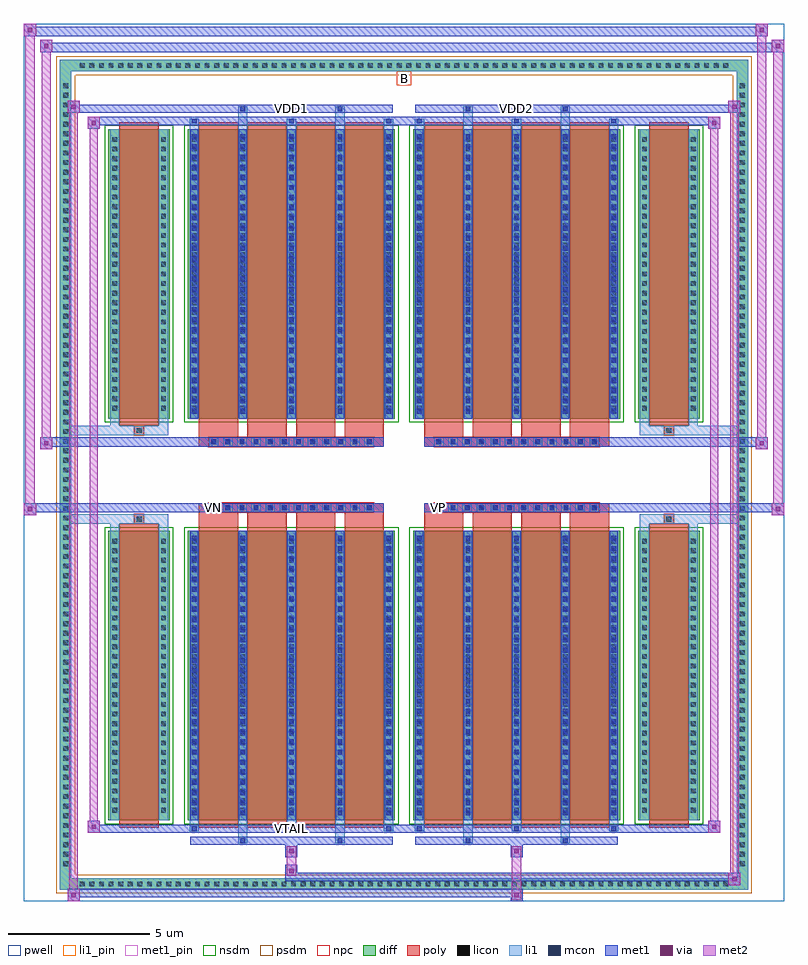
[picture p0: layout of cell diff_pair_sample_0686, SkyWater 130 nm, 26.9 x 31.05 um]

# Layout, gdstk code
import gdstk
lib = gdstk.Library(unit=1e-6, precision=5e-09)
def R(c, l, rs):  # rectangles x0, y0, x1, y1
    for r in rs: c.add(gdstk.rectangle(r[:2], r[2:], *l))
def A(c, l, x, y, w, h, nx, ny, dx, dy):  # array of equal rectangles
    R(c, l, [(x+i*dx, y+j*dy, x+i*dx+w, y+j*dy+h) for i in range(nx) for j in range(ny)])
def P(c, l, *ps):  # polygons
    for p in ps: c.add(gdstk.Polygon(p, *l))
pwell = (64, 44)
diff = (65, 20)
poly = (66, 20)
licon = (66, 44)
li1_pin = (67, 16)
li1 = (67, 20)
mcon = (67, 44)
met1_pin = (68, 16)
met1 = (68, 20)
via = (68, 44)
met2 = (69, 20)
nsdm = (93, 44)
psdm = (94, 20)
npc = (95, 20)

diff_pair_sample_0686 = lib.new_cell('diff_pair_sample_0686')
R(diff_pair_sample_0686, pwell, [(-13.45,-15.09,13.45,15.96), (-10.77,-13.28,-0.01,-0.8), (0.01,-13.28,10.77,-0.8), (-10.77,0.8,-0.01,13.28), (0.01,0.8,10.77,13.28)])
A(diff_pair_sample_0686, diff, -11.595, -14.69, 0.41, 0.41, 68, 2, 0.34, 28.97)
A(diff_pair_sample_0686, diff, -12.18, -13.975, 0.41, 0.41, 1, 82, 0, 0.34)
A(diff_pair_sample_0686, diff, 11.77, -13.975, 0.41, 0.41, 1, 82, 0, 0.34)
R(diff_pair_sample_0686, diff, [(-11.595,-14.69,11.595,-14.28), (-12.18,-13.975,-11.77,13.975), (11.77,-13.975,12.18,13.975), (-10.46,-12.235,-8.29,-1.985), (-7.65,-12.235,-0.32,-1.985), (0.32,-12.235,7.65,-1.985), (8.29,-12.235,10.46,-1.985), (-10.46,1.985,-8.29,12.235), (-7.65,1.985,-0.32,12.235), (0.32,1.985,7.65,12.235), (8.29,1.985,10.46,12.235), (-11.595,14.28,11.595,14.69)])
P(diff_pair_sample_0686, diff, [(12.18,14.69),(-12.18,14.69),(-12.18,-14.28),(-11.77,-14.28),(-11.77,14.28),(11.77,14.28),(11.77,-14.28),(-11.77,-14.28),(-12.18,-14.28),(-12.18,-14.69),(12.18,-14.69)])
A(diff_pair_sample_0686, poly, -7.26, -12.485, 1.39, 10.75, 4, 2, 1.72, 14.22)
A(diff_pair_sample_0686, poly, 0.71, -12.485, 1.39, 10.75, 4, 2, 1.72, 14.22)
A(diff_pair_sample_0686, poly, -7.26, -1.735, 1.39, 0.405, 4, 2, 1.72, 3.065)
A(diff_pair_sample_0686, poly, 0.71, -1.735, 1.39, 0.405, 4, 2, 1.72, 3.065)
A(diff_pair_sample_0686, poly, -6.9, -1.33, 0.33, 0.33, 12, 2, 0.5, 2.33)
A(diff_pair_sample_0686, poly, 1.07, -1.33, 0.33, 0.33, 12, 2, 0.5, 2.33)
R(diff_pair_sample_0686, poly, [(-10.07,-12.485,-8.68,-1.735), (8.68,-12.485,10.07,-1.735), (-9.54,-1.735,-9.21,-1.405), (-9.54,-1.735,-9.21,-1.405), (9.21,-1.735,9.54,-1.405), (9.21,-1.735,9.54,-1.405), (-7.26,-1.33,-0.71,-1), (0.71,-1.33,7.26,-1), (-7.26,1,-0.71,1.33), (0.71,1,7.26,1.33), (-9.54,1.405,-9.21,1.735), (-9.54,1.405,-9.21,1.735), (9.21,1.405,9.54,1.735), (9.21,1.405,9.54,1.735), (-10.07,1.735,-8.68,12.485), (8.68,1.735,10.07,12.485)])
A(diff_pair_sample_0686, licon, -11.475, -14.57, 0.17, 0.17, 68, 2, 0.34, 28.97)
A(diff_pair_sample_0686, licon, -12.06, -13.855, 0.17, 0.17, 1, 82, 0, 0.34)
A(diff_pair_sample_0686, licon, 11.89, -13.855, 0.17, 0.17, 1, 82, 0, 0.34)
A(diff_pair_sample_0686, licon, -10.32, -11.955, 0.17, 0.17, 1, 29, 0, 0.34)
A(diff_pair_sample_0686, licon, -8.6, -11.955, 0.17, 0.17, 1, 29, 0, 0.34)
A(diff_pair_sample_0686, licon, -7.51, -11.955, 0.17, 0.17, 5, 29, 1.72, 0.34)
A(diff_pair_sample_0686, licon, 0.46, -11.955, 0.17, 0.17, 5, 29, 1.72, 0.34)
A(diff_pair_sample_0686, licon, 8.43, -11.955, 0.17, 0.17, 1, 29, 0, 0.34)
A(diff_pair_sample_0686, licon, 10.15, -11.955, 0.17, 0.17, 1, 29, 0, 0.34)
A(diff_pair_sample_0686, licon, -6.82, -1.25, 0.17, 0.17, 12, 2, 0.5, 2.33)
A(diff_pair_sample_0686, licon, 1.15, -1.25, 0.17, 0.17, 12, 2, 0.5, 2.33)
A(diff_pair_sample_0686, licon, -10.32, 2.265, 0.17, 0.17, 1, 29, 0, 0.34)
A(diff_pair_sample_0686, licon, -8.6, 2.265, 0.17, 0.17, 1, 29, 0, 0.34)
A(diff_pair_sample_0686, licon, -7.51, 2.265, 0.17, 0.17, 5, 29, 1.72, 0.34)
A(diff_pair_sample_0686, licon, 0.46, 2.265, 0.17, 0.17, 5, 29, 1.72, 0.34)
A(diff_pair_sample_0686, licon, 8.43, 2.265, 0.17, 0.17, 1, 29, 0, 0.34)
A(diff_pair_sample_0686, licon, 10.15, 2.265, 0.17, 0.17, 1, 29, 0, 0.34)
R(diff_pair_sample_0686, licon, [(-9.46,-1.655,-9.29,-1.485), (9.29,-1.655,9.46,-1.485), (-9.46,1.485,-9.29,1.655), (9.29,1.485,9.46,1.655)])
R(diff_pair_sample_0686, li1_pin, [(-0.25,13.78,0.25,14.28)])
A(diff_pair_sample_0686, li1, -11.555, -14.65, 0.33, 0.33, 68, 2, 0.34, 28.97)
A(diff_pair_sample_0686, li1, -12.14, -13.935, 0.33, 0.33, 1, 82, 0, 0.34)
A(diff_pair_sample_0686, li1, 11.81, -13.935, 0.33, 0.33, 1, 82, 0, 0.34)
A(diff_pair_sample_0686, li1, -7.59, -12.61, 0.33, 0.375, 3, 2, 3.44, 24.845)
A(diff_pair_sample_0686, li1, -7.51, -12.61, 0.17, 0.17, 3, 2, 3.44, 25.05)
A(diff_pair_sample_0686, li1, 0.38, -12.61, 0.33, 0.375, 3, 2, 3.44, 24.845)
A(diff_pair_sample_0686, li1, 0.46, -12.61, 0.17, 0.17, 3, 2, 3.44, 25.05)
A(diff_pair_sample_0686, li1, -7.59, -12.235, 0.33, 10.25, 5, 2, 1.72, 14.22)
A(diff_pair_sample_0686, li1, 0.38, -12.235, 0.33, 10.25, 5, 2, 1.72, 14.22)
A(diff_pair_sample_0686, li1, -7.51, -12.055, 0.17, 0.17, 5, 28, 1.72, 0.36)
A(diff_pair_sample_0686, li1, -7.51, -12.055, 0.17, 9.89, 5, 2, 1.72, 14.22)
A(diff_pair_sample_0686, li1, 0.46, -12.055, 0.17, 0.17, 5, 28, 1.72, 0.36)
A(diff_pair_sample_0686, li1, 0.46, -12.055, 0.17, 9.89, 5, 2, 1.72, 14.22)
A(diff_pair_sample_0686, li1, -10.4, -12.035, 0.33, 0.33, 1, 29, 0, 0.34)
A(diff_pair_sample_0686, li1, -8.68, -12.035, 0.33, 0.33, 1, 29, 0, 0.34)
A(diff_pair_sample_0686, li1, -7.59, -12.035, 0.33, 0.33, 5, 29, 1.72, 0.34)
A(diff_pair_sample_0686, li1, 0.38, -12.035, 0.33, 0.33, 5, 29, 1.72, 0.34)
A(diff_pair_sample_0686, li1, 8.35, -12.035, 0.33, 0.33, 1, 29, 0, 0.34)
A(diff_pair_sample_0686, li1, 10.07, -12.035, 0.33, 0.33, 1, 29, 0, 0.34)
A(diff_pair_sample_0686, li1, -6.9, -1.33, 0.33, 0.33, 12, 2, 0.5, 2.33)
A(diff_pair_sample_0686, li1, 1.07, -1.33, 0.33, 0.33, 12, 2, 0.5, 2.33)
A(diff_pair_sample_0686, li1, -7.51, 2.165, 0.17, 0.17, 5, 28, 1.72, 0.36)
A(diff_pair_sample_0686, li1, 0.46, 2.165, 0.17, 0.17, 5, 28, 1.72, 0.36)
A(diff_pair_sample_0686, li1, -10.4, 2.185, 0.33, 0.33, 1, 29, 0, 0.34)
A(diff_pair_sample_0686, li1, -8.68, 2.185, 0.33, 0.33, 1, 29, 0, 0.34)
A(diff_pair_sample_0686, li1, -7.59, 2.185, 0.33, 0.33, 5, 29, 1.72, 0.34)
A(diff_pair_sample_0686, li1, 0.38, 2.185, 0.33, 0.33, 5, 29, 1.72, 0.34)
A(diff_pair_sample_0686, li1, 8.35, 2.185, 0.33, 0.33, 1, 29, 0, 0.34)
A(diff_pair_sample_0686, li1, 10.07, 2.185, 0.33, 0.33, 1, 29, 0, 0.34)
R(diff_pair_sample_0686, li1, [(-12.18,-14.69,-11.77,-14.28), (-12.18,-14.69,-11.77,-14.28), (-11.77,-14.69,11.77,-14.28), (11.77,-14.69,12.18,-14.28), (11.77,-14.69,12.18,-14.28), (-12.18,-14.28,-11.77,14.28), (11.77,-14.28,12.18,14.28), (-5.87,-13.04,-5.54,-12.235), (-5.79,-13.04,-5.62,-12.87), (-2.43,-13.04,-2.1,-12.235), (-2.35,-13.04,-2.18,-12.87), (2.1,-13.04,2.43,-12.235), (2.18,-13.04,2.35,-12.87), (5.54,-13.04,5.87,-12.235), (5.62,-13.04,5.79,-12.87), (-10.4,-12.235,-10.07,-1.985), (-8.68,-12.235,-8.35,-1.985), (8.35,-12.235,8.68,-1.985), (10.07,-12.235,10.4,-1.985), (-10.4,-1.985,-10.07,-1.405), (-8.68,-1.985,-8.35,-1.405), (8.35,-1.985,8.68,-1.405), (10.07,-1.985,10.4,-1.405), (-12.18,-1.735,-9.54,-1.405), (-10.4,-1.735,-9.54,-1.405), (-9.54,-1.735,-9.21,-1.405), (-9.21,-1.735,-8.35,-1.405), (8.35,-1.735,9.21,-1.405), (9.21,-1.735,9.54,-1.405), (9.21,-1.735,12.18,-1.405), (9.54,-1.735,10.4,-1.405), (-12.18,1.405,-9.54,1.735), (-10.4,1.405,-9.54,1.735), (-10.4,1.405,-10.07,1.985), (-9.54,1.405,-9.21,1.735), (-9.21,1.405,-8.35,1.735), (-8.68,1.405,-8.35,1.985), (8.35,1.405,9.21,1.735), (8.35,1.405,8.68,1.985), (9.21,1.405,9.54,1.735), (9.21,1.405,12.18,1.735), (9.54,1.405,10.4,1.735), (10.07,1.405,10.4,1.985), (-10.4,1.985,-10.07,12.235), (-8.68,1.985,-8.35,12.235), (8.35,1.985,8.68,12.235), (10.07,1.985,10.4,12.235), (-5.87,12.235,-5.54,13.04), (-2.43,12.235,-2.1,13.04), (2.1,12.235,2.43,13.04), (5.54,12.235,5.87,13.04), (-5.79,12.87,-5.62,13.04), (-2.35,12.87,-2.18,13.04), (2.18,12.87,2.35,13.04), (5.62,12.87,5.79,13.04), (-12.18,14.28,-11.77,14.69), (-12.18,14.28,-11.77,14.69), (-11.77,14.28,11.77,14.69), (11.77,14.28,12.18,14.69), (11.77,14.28,12.18,14.69)])
A(diff_pair_sample_0686, mcon, -7.51, -12.61, 0.17, 0.17, 3, 2, 3.44, 25.05)
A(diff_pair_sample_0686, mcon, 0.46, -12.61, 0.17, 0.17, 3, 2, 3.44, 25.05)
A(diff_pair_sample_0686, mcon, -7.51, -12.055, 0.17, 0.17, 5, 28, 1.72, 0.36)
A(diff_pair_sample_0686, mcon, 0.46, -12.055, 0.17, 0.17, 5, 28, 1.72, 0.36)
A(diff_pair_sample_0686, mcon, -6.82, -1.25, 0.17, 0.17, 12, 2, 0.5, 2.33)
A(diff_pair_sample_0686, mcon, 1.15, -1.25, 0.17, 0.17, 12, 2, 0.5, 2.33)
A(diff_pair_sample_0686, mcon, -7.51, 2.165, 0.17, 0.17, 5, 28, 1.72, 0.36)
A(diff_pair_sample_0686, mcon, 0.46, 2.165, 0.17, 0.17, 5, 28, 1.72, 0.36)
R(diff_pair_sample_0686, mcon, [(-5.79,-13.04,-5.62,-12.87), (-2.35,-13.04,-2.18,-12.87), (2.18,-13.04,2.35,-12.87), (5.62,-13.04,5.79,-12.87), (-5.79,12.87,-5.62,13.04), (-2.35,12.87,-2.18,13.04), (2.18,12.87,2.35,13.04), (5.62,12.87,5.79,13.04)])
R(diff_pair_sample_0686, met1_pin, [(-4.12,-12.65,-3.85,-12.38), (-6.87,-1.29,-6.6,-1.02), (1.1,-1.29,1.37,-1.02), (-4.12,12.83,-3.85,13.1), (3.85,12.83,4.12,13.1)])
A(diff_pair_sample_0686, met1, -7.57, -12.67, 0.29, 0.29, 3, 2, 3.44, 25.05)
A(diff_pair_sample_0686, met1, 0.4, -12.67, 0.29, 0.29, 3, 2, 3.44, 25.05)
A(diff_pair_sample_0686, met1, -7.57, -12.235, 0.29, 10.25, 5, 2, 1.72, 14.22)
A(diff_pair_sample_0686, met1, 0.4, -12.235, 0.29, 10.25, 5, 2, 1.72, 14.22)
A(diff_pair_sample_0686, met1, -7.57, -12.115, 0.29, 0.29, 5, 28, 1.72, 0.36)
A(diff_pair_sample_0686, met1, 0.4, -12.115, 0.29, 0.29, 5, 28, 1.72, 0.36)
A(diff_pair_sample_0686, met1, -6.88, -1.31, 0.29, 0.29, 12, 2, 0.5, 2.33)
A(diff_pair_sample_0686, met1, 1.09, -1.31, 0.29, 0.29, 12, 2, 0.5, 2.33)
A(diff_pair_sample_0686, met1, -7.57, 2.105, 0.29, 0.29, 5, 28, 1.72, 0.36)
A(diff_pair_sample_0686, met1, 0.4, 2.105, 0.29, 0.29, 5, 28, 1.72, 0.36)
R(diff_pair_sample_0686, met1, [(-11.91,-15.09,-11.48,-14.66), (3.77,-15.09,4.2,-14.66), (-11.91,-14.95,4.2,-14.66), (11.48,-14.52,11.91,-14.09), (-4.2,-14.38,11.91,-14.09), (-4.2,-14.24,-3.77,-13.81), (-4.2,-13.53,-3.77,-13.1), (3.77,-13.53,4.2,-13.1), (-7.57,-13.1,-0.4,-12.81), (-5.85,-13.1,-5.56,-12.81), (-2.41,-13.1,-2.12,-12.81), (0.4,-13.1,7.57,-12.81), (2.12,-13.1,2.41,-12.81), (5.56,-13.1,5.85,-12.81), (-11.2,-12.67,-10.77,-12.24), (-11.2,-12.67,-7.57,-12.38), (-7.57,-12.67,-0.4,-12.38), (-0.4,-12.67,0.4,-12.38), (0.4,-12.67,7.57,-12.38), (7.57,-12.67,11.2,-12.38), (10.77,-12.67,11.2,-12.24), (-13.45,-1.43,-13.02,-1), (13.02,-1.43,13.45,-1), (-13.45,-1.33,-0.71,-1), (-7.26,-1.33,-0.71,-1), (0.71,-1.33,7.26,-1), (0.71,-1.33,13.45,-1), (-12.88,0.9,-12.45,1.33), (12.45,0.9,12.88,1.33), (-12.88,1,-7.26,1.33), (-7.26,1,-0.71,1.33), (0.71,1,7.26,1.33), (7.26,1,12.88,1.33), (-11.2,12.24,-10.77,12.67), (10.77,12.24,11.2,12.67), (-11.2,12.38,-7.57,12.67), (-7.57,12.38,-0.4,12.67), (-0.4,12.38,0.4,12.67), (0.4,12.38,7.57,12.67), (7.57,12.38,11.2,12.67), (-11.91,12.81,-11.48,13.24), (-11.91,12.81,-7.57,13.1), (-7.57,12.81,-0.4,13.1), (-5.85,12.81,-5.56,13.1), (-2.41,12.81,-2.12,13.1), (0.4,12.81,7.57,13.1), (2.12,12.81,2.41,13.1), (5.56,12.81,5.85,13.1), (7.57,12.81,11.91,13.1), (11.48,12.81,11.91,13.24), (-12.88,14.96,-12.45,15.39), (-12.88,14.96,-10.77,15.29), (-10.77,14.96,10.77,15.29), (10.77,14.96,13.45,15.29), (13.02,14.96,13.45,15.39), (-13.45,15.53,-13.02,15.96), (-13.45,15.53,-10.77,15.86), (-10.77,15.53,10.77,15.86), (10.77,15.53,12.88,15.86), (12.45,15.53,12.88,15.96)])
R(diff_pair_sample_0686, via, [(-11.77,-14.95,-11.62,-14.8), (3.91,-14.95,4.06,-14.8), (11.62,-14.38,11.77,-14.23), (-4.06,-14.1,-3.91,-13.95), (-4.06,-13.39,-3.91,-13.24), (3.91,-13.39,4.06,-13.24), (-11.06,-12.53,-10.91,-12.38), (10.91,-12.53,11.06,-12.38), (-13.31,-1.29,-13.16,-1.14), (13.16,-1.29,13.31,-1.14), (-12.74,1.04,-12.59,1.19), (12.59,1.04,12.74,1.19), (-11.06,12.38,-10.91,12.53), (10.91,12.38,11.06,12.53), (-11.77,12.95,-11.62,13.1), (11.62,12.95,11.77,13.1), (-12.74,15.1,-12.59,15.25), (13.16,15.1,13.31,15.25), (-13.31,15.67,-13.16,15.82), (12.59,15.67,12.74,15.82)])
R(diff_pair_sample_0686, met2, [(-11.91,-15.09,-11.48,-14.66), (-11.84,-15.09,-11.55,13.24), (-11.55,-15.09,-11.48,-14.66), (-11.86,-15.04,-11.53,-14.71), (3.82,-15.04,4.15,-14.71), (3.82,-14.71,4.15,-13.48), (11.48,-14.52,11.91,-14.09), (11.55,-14.52,11.84,13.24), (11.84,-14.52,11.91,-14.09), (11.53,-14.47,11.86,-14.14), (-4.15,-14.19,-3.82,-13.86), (-4.15,-13.86,-3.82,-13.48), (-4.15,-13.48,-3.82,-13.15), (3.82,-13.48,4.15,-13.15), (-11.2,-12.67,-10.77,-12.24), (-11.13,-12.67,-10.84,12.67), (-10.84,-12.67,-10.77,-12.24), (10.77,-12.67,11.2,-12.24), (10.84,-12.67,11.13,12.67), (11.13,-12.67,11.2,-12.24), (-11.15,-12.62,-10.82,-12.29), (10.82,-12.62,11.15,-12.29), (-13.45,-1.43,-13.02,-1), (-13.4,-1.43,-13.07,15.96), (-13.07,-1.43,-13.02,-1), (13.02,-1.43,13.45,-1), (13.07,-1.43,13.4,15.39), (13.4,-1.43,13.45,-1), (-13.4,-1.38,-13.07,-1.05), (13.07,-1.38,13.4,-1.05), (-12.88,0.9,-12.45,1.33), (-12.83,0.9,-12.5,15.39), (-12.5,0.9,-12.45,1.33), (12.45,0.9,12.88,1.33), (12.5,0.9,12.83,15.96), (12.83,0.9,12.88,1.33), (-12.83,0.95,-12.5,1.28), (12.5,0.95,12.83,1.28), (-11.2,12.24,-10.77,12.67), (-10.84,12.24,-10.77,12.67), (10.77,12.24,11.2,12.67), (11.13,12.24,11.2,12.67), (-11.15,12.29,-10.82,12.62), (10.82,12.29,11.15,12.62), (-11.91,12.81,-11.48,13.24), (-11.55,12.81,-11.48,13.24), (11.48,12.81,11.91,13.24), (11.84,12.81,11.91,13.24), (-11.86,12.86,-11.53,13.19), (11.53,12.86,11.86,13.19), (-12.88,14.96,-12.45,15.39), (-12.5,14.96,-12.45,15.39), (13.02,14.96,13.45,15.39), (13.4,14.96,13.45,15.39), (-12.83,15.01,-12.5,15.34), (13.07,15.01,13.4,15.34), (-13.45,15.53,-13.02,15.96), (-13.07,15.53,-13.02,15.96), (12.45,15.53,12.88,15.96), (12.83,15.53,12.88,15.96), (-13.4,15.58,-13.07,15.91), (12.5,15.58,12.83,15.91)])
R(diff_pair_sample_0686, nsdm, [(-10.59,-12.365,-8.16,-1.855), (-7.78,-12.365,-0.19,-1.855), (0.19,-12.365,7.78,-1.855), (8.16,-12.365,10.59,-1.855), (-10.59,1.855,-8.16,12.365), (-7.78,1.855,-0.19,12.365), (0.19,1.855,7.78,12.365), (8.16,1.855,10.59,12.365)])
P(diff_pair_sample_0686, psdm, [(12.31,14.82),(-12.31,14.82),(-12.31,-14.15),(-11.64,-14.15),(-11.64,14.15),(11.64,14.15),(11.64,-14.15),(-11.64,-14.15),(-12.31,-14.15),(-12.31,-14.82),(12.31,-14.82)])
A(diff_pair_sample_0686, npc, -6.92, -1.35, 0.37, 0.37, 12, 2, 0.5, 2.33)
A(diff_pair_sample_0686, npc, 1.05, -1.35, 0.37, 0.37, 12, 2, 0.5, 2.33)
R(diff_pair_sample_0686, npc, [(-9.56,-1.755,-9.19,-1.385), (9.19,-1.755,9.56,-1.385), (-6.92,-1.35,-6.05,-0.98), (-6.92,-1.35,-6.05,-0.98), (-6.42,-1.35,-5.55,-0.98), (-6.42,-1.35,-5.55,-0.98), (-5.92,-1.35,-5.05,-0.98), (-5.92,-1.35,-5.05,-0.98), (-5.42,-1.35,-4.55,-0.98), (-5.42,-1.35,-4.55,-0.98), (-4.92,-1.35,-4.05,-0.98), (-4.92,-1.35,-4.05,-0.98), (-4.42,-1.35,-3.55,-0.98), (-4.42,-1.35,-3.55,-0.98), (-3.92,-1.35,-3.05,-0.98), (-3.92,-1.35,-3.05,-0.98), (-3.42,-1.35,-2.55,-0.98), (-3.42,-1.35,-2.55,-0.98), (-2.92,-1.35,-2.05,-0.98), (-2.92,-1.35,-2.05,-0.98), (-2.42,-1.35,-1.55,-0.98), (-2.42,-1.35,-1.55,-0.98), (-1.92,-1.35,-1.05,-0.98), (-1.92,-1.35,-1.05,-0.98), (1.05,-1.35,1.92,-0.98), (1.05,-1.35,1.92,-0.98), (1.55,-1.35,2.42,-0.98), (1.55,-1.35,2.42,-0.98), (2.05,-1.35,2.92,-0.98), (2.05,-1.35,2.92,-0.98), (2.55,-1.35,3.42,-0.98), (2.55,-1.35,3.42,-0.98), (3.05,-1.35,3.92,-0.98), (3.05,-1.35,3.92,-0.98), (3.55,-1.35,4.42,-0.98), (3.55,-1.35,4.42,-0.98), (4.05,-1.35,4.92,-0.98), (4.05,-1.35,4.92,-0.98), (4.55,-1.35,5.42,-0.98), (4.55,-1.35,5.42,-0.98), (5.05,-1.35,5.92,-0.98), (5.05,-1.35,5.92,-0.98), (5.55,-1.35,6.42,-0.98), (5.55,-1.35,6.42,-0.98), (6.05,-1.35,6.92,-0.98), (6.05,-1.35,6.92,-0.98), (-6.92,0.98,-6.05,1.35), (-6.92,0.98,-6.05,1.35), (-6.42,0.98,-5.55,1.35), (-6.42,0.98,-5.55,1.35), (-5.92,0.98,-5.05,1.35), (-5.92,0.98,-5.05,1.35), (-5.42,0.98,-4.55,1.35), (-5.42,0.98,-4.55,1.35), (-4.92,0.98,-4.05,1.35), (-4.92,0.98,-4.05,1.35), (-4.42,0.98,-3.55,1.35), (-4.42,0.98,-3.55,1.35), (-3.92,0.98,-3.05,1.35), (-3.92,0.98,-3.05,1.35), (-3.42,0.98,-2.55,1.35), (-3.42,0.98,-2.55,1.35), (-2.92,0.98,-2.05,1.35), (-2.92,0.98,-2.05,1.35), (-2.42,0.98,-1.55,1.35), (-2.42,0.98,-1.55,1.35), (-1.92,0.98,-1.05,1.35), (-1.92,0.98,-1.05,1.35), (1.05,0.98,1.92,1.35), (1.05,0.98,1.92,1.35), (1.55,0.98,2.42,1.35), (1.55,0.98,2.42,1.35), (2.05,0.98,2.92,1.35), (2.05,0.98,2.92,1.35), (2.55,0.98,3.42,1.35), (2.55,0.98,3.42,1.35), (3.05,0.98,3.92,1.35), (3.05,0.98,3.92,1.35), (3.55,0.98,4.42,1.35), (3.55,0.98,4.42,1.35), (4.05,0.98,4.92,1.35), (4.05,0.98,4.92,1.35), (4.55,0.98,5.42,1.35), (4.55,0.98,5.42,1.35), (5.05,0.98,5.92,1.35), (5.05,0.98,5.92,1.35), (5.55,0.98,6.42,1.35), (5.55,0.98,6.42,1.35), (6.05,0.98,6.92,1.35), (6.05,0.98,6.92,1.35), (-9.56,1.385,-9.19,1.755), (9.19,1.385,9.56,1.755)])
diff_pair_sample_0686.add(gdstk.Label('VTAIL', (-3.985,-12.515), layer=68, texttype=5))
diff_pair_sample_0686.add(gdstk.Label('VN', (-6.735,-1.155), layer=68, texttype=5))
diff_pair_sample_0686.add(gdstk.Label('VP', (1.235,-1.155), layer=68, texttype=5))
diff_pair_sample_0686.add(gdstk.Label('B', (0,14.03), layer=67, texttype=5))
diff_pair_sample_0686.add(gdstk.Label('VDD2', (3.985,12.965), layer=68, texttype=5))
diff_pair_sample_0686.add(gdstk.Label('VDD1', (-3.985,12.965), layer=68, texttype=5))

lib.write_gds('diff_pair_sample_0686.gds')
